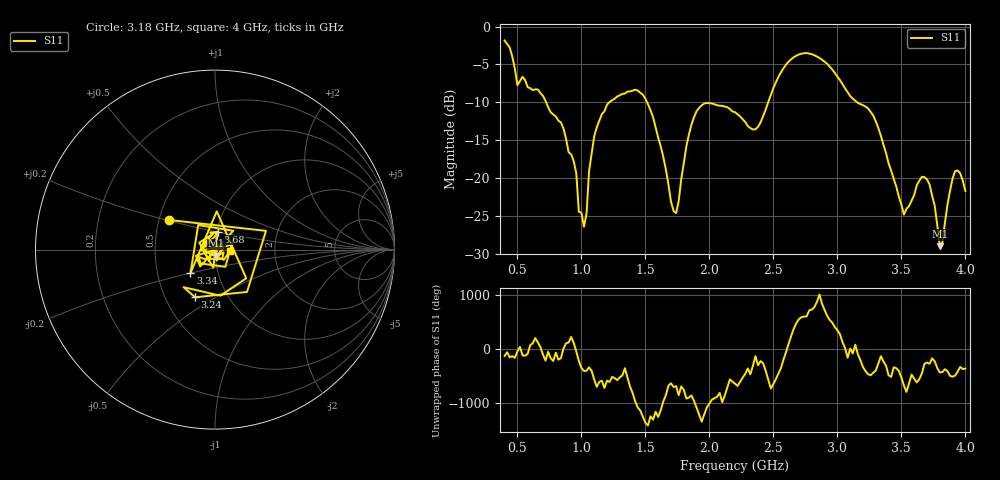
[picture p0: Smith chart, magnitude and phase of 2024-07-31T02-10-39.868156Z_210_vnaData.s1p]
!Created with skrf (http://scikit-rf.org).
# Hz S RI R 50.0
!freq ReS11 ImS11
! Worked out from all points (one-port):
!   181 points, 400 MHz to 4 GHz, reference 50 ohm
!   lowest |S11| = -29.0 dB at 3.8 GHz (marker M1), VSWR 1.07, Z = 50.6 - j3.51 ohm
!   |S11| at or under -10 dB: 724.3 MHz to 1.218 GHz (493.6 MHz wide, 50.8 % of centre); 1.513 GHz to 2.459 GHz (946.3 MHz wide, 47.7 % of centre); 3.154 GHz to end of sweep
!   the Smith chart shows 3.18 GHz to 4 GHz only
!   S11 on the Smith chart (normalised r, x): 3.18 GHz: 0.56, +0.21; 3.24 GHz: 0.70, -0.41; 3.34 GHz: 0.74, -0.20; 3.68 GHz: 1.01, +0.20; 4 GHz: 1.18, -0.02
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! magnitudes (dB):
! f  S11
! 400 MHz  -1.8
! 500 MHz  -7.7
! 860 MHz  -13.5
! 960 MHz  -19.4
! 980 MHz  -24.5
! 1.02 GHz  -26.4
! 1.1 GHz  -14.5
! 1.3 GHz  -9.1
! 1.5 GHz  -9.5
! 1.72 GHz  -24.4
! 1.76 GHz  -23.1
! 1.82 GHz  -15.8
! 1.9 GHz  -11.2
! 2.2 GHz  -11.3
! 2.36 GHz  -13.6
! 2.66 GHz  -4.0
! 2.86 GHz  -4.2
! 3.1 GHz  -9.2
! 3.18 GHz  -10.3
! 3.24 GHz  -10.8
! 3.34 GHz  -14.5
! 3.52 GHz  -24.8
! 3.56 GHz  -23.7
! 3.68 GHz  -19.9
! 3.76 GHz  -23.6
! 3.8 GHz  -29.0
! 3.92 GHz  -19.1
! 4 GHz  -21.7
